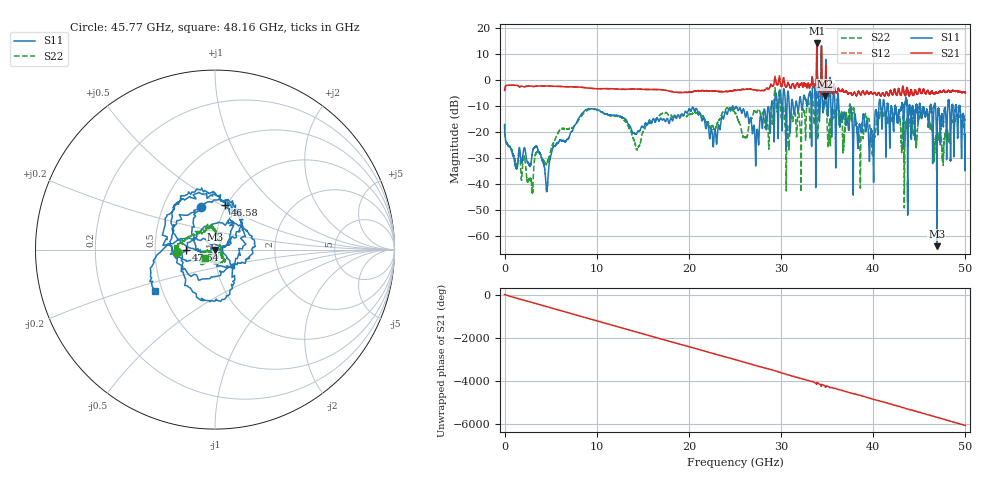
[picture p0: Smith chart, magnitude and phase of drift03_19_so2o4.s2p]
!Created with skrf (http://scikit-rf.org).
# Hz S RI R 50.0
!freq ReS11 ImS11 ReS21 ImS21 ReS12 ImS12 ReS22 ImS22
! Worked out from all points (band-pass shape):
!   10001 points, 300 kHz to 50 GHz, reference 50 ohm
!   highest |S21| = 14.15 dB at 33.88 GHz (marker M1); lowest = -6.3 dB at 34.79 GHz (marker M2)
!   |S21| within 3 dB of the highest: 33.86968 GHz to 33.88894 GHz (19.26 MHz wide, 0.0568 % of centre); 34.37696 GHz to 34.39065 GHz (13.68 MHz wide, 0.0398 % of centre)
!   lowest |S11| = -63.8 dB at 46.9 GHz (marker M3), VSWR 1.00, Z = 50.1 - j0.0352 ohm
!   |S11| at or under -10 dB: start of sweep to 28.94 GHz; 36.26 GHz to 40.61 GHz (4.346 GHz wide, 11.3 % of centre); 46.75 GHz to 48.09 GHz (1.338 GHz wide, 2.82 % of centre) (the widest 3 of 53)
!   |S22| runs from -49.1 to 10.7 dB; largest |S21 - S12| = 0.82
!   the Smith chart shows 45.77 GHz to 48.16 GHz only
!   S11 on the Smith chart (normalised r, x): 45.77 GHz: 0.77, +0.39; 46.58 GHz: 0.98, +0.52; 47.64 GHz: 0.72, -0.00; 48.16 GHz: 0.46, -0.25
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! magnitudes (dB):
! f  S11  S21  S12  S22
! 300 kHz  -17.2  -4.0  -4.0  -16.8
! 2.825 GHz  -32.6  -2.4  -2.4  -38.4
! 4.565 GHz  -41.8  -2.3  -2.3  -32.1
! 8.335 GHz  -13.1  -2.8  -2.8  -13.9
! 14.43 GHz  -20.0  -3.5  -3.5  -26.3
! 16.67 GHz  -15.5  -3.7  -3.7  -14.3
! 22.82 GHz  -19.3  -4.3  -4.3  -19.2
! 25 GHz  -11.0  -4.0  -4.0  -12.6
! 27.39 GHz  -19.3  -4.1  -4.1  -12.4
! 29.6 GHz  -10.4  -2.0  -2.1  -11.8
! 30.7 GHz  -5.8  -1.5  -1.6  -17.3
! 33.34 GHz  -13.6  -0.4  -0.5  -7.2
! 33.88 GHz  15.1  14.1  13.8  10.6
! 34.79 GHz  -3.2  -6.3  -5.0  -8.6
! 39.81 GHz  -19.3  -5.0  -4.9  -23.8
! 41.67 GHz  -12.4  -6.0  -6.0  -15.2
! 45.77 GHz  -12.0  -5.1  -5.1  -13.4
! 46.58 GHz  -11.9  -5.4  -5.5  -29.5
! 46.9 GHz  -63.8  -4.9  -4.9  -22.5
! 47.64 GHz  -15.9  -4.0  -4.1  -27.6
! 48.16 GHz  -7.8  -4.1  -4.0  -22.5
! 50 GHz  -20.9  -4.9  -4.9  -15.1
